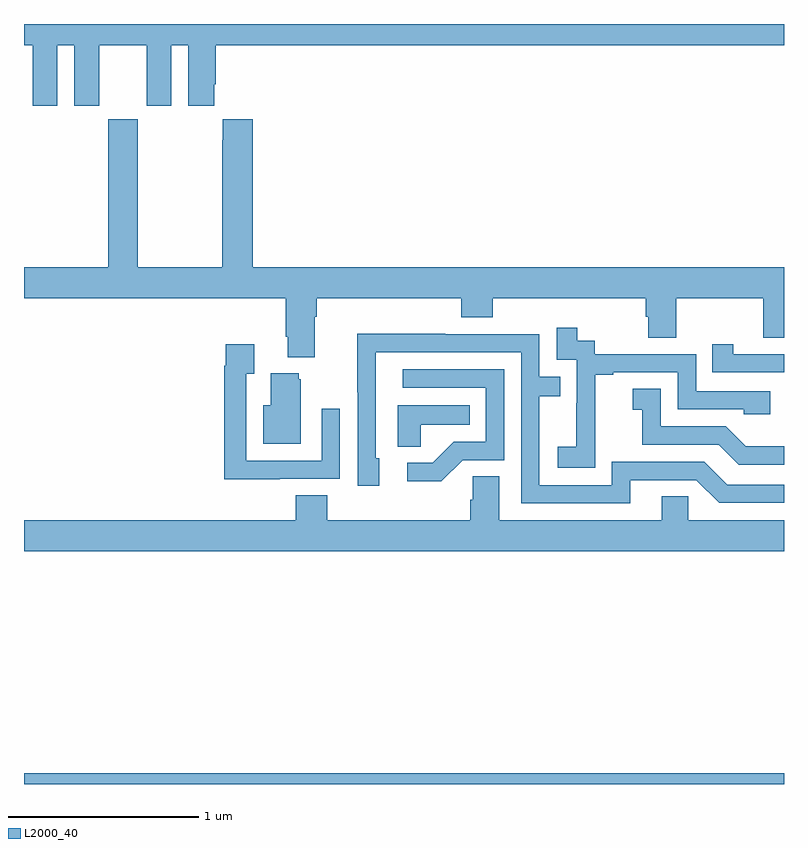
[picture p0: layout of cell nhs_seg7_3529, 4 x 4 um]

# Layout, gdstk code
import gdstk
lib = gdstk.Library(unit=1e-6, precision=1e-09)
def R(c, l, rs):  # rectangles x0, y0, x1, y1
    for r in rs: c.add(gdstk.rectangle(r[:2], r[2:], *l))
def P(c, l, *ps):  # polygons
    for p in ps: c.add(gdstk.Polygon(p, *l))
L2000_40 = (2000, 40)

nhs_seg7_3529 = lib.new_cell('nhs_seg7_3529')
R(nhs_seg7_3529, L2000_40, [(335,1058,339,1058.056)])
P(nhs_seg7_3529, L2000_40, [(335.176,1061.888),(335.264,1061.888),(335.264,1061.571),(335.395,1061.571),(335.395,1061.888),(335.645,1061.888),(335.645,1061.571),(335.776,1061.571),(335.776,1061.888),(335.864,1061.888),(335.864,1061.571),(336.001,1061.571),(336.001,1061.683),(336.008,1061.683),(336.008,1061.888),(339,1061.888),(339,1062),(335,1062),(335,1061.888),(335.045,1061.888),(335.045,1061.571),(335.176,1061.571)],
  [(336.203,1061.5),(336.047,1061.5),(336.047,1061.387),(336.043,1061.387),(336.043,1060.72),(335.598,1060.72),(335.598,1061.5),(335.443,1061.5),(335.443,1060.72),(335,1060.72),(335,1060.556),(336.377,1060.556),(336.377,1060.354),(336.389,1060.354),(336.389,1060.247),(336.529,1060.247),(336.529,1060.46),(336.542,1060.46),(336.542,1060.556),(337.301,1060.556),(337.301,1060.457),(337.466,1060.457),(337.466,1060.556),(338.273,1060.556),(338.273,1060.458),(338.285,1060.458),(338.285,1060.348),(338.433,1060.348),(338.433,1060.556),(338.89,1060.556),(338.89,1060.348),(339,1060.348),(339,1060.72),(336.203,1060.72)],
  [(338.007,1059.871),(338.006,1059.871),(338.006,1060.155),(338.101,1060.155),(338.101,1060.167),(338.442,1060.167),(338.442,1059.972),(338.787,1059.972),(338.787,1059.945),(338.927,1059.945),(338.927,1060.068),(338.538,1060.068),(338.538,1060.263),(338.004,1060.263),(338.004,1060.332),(337.912,1060.332),(337.912,1060.402),(337.803,1060.402),(337.803,1060.233),(337.908,1060.233),(337.908,1060.004),(337.907,1060.004),(337.907,1059.775),(337.809,1059.775),(337.809,1059.665),(338.007,1059.665)],
  [(338.191,1059.6),(338.538,1059.6),(338.658,1059.48),(339,1059.48),(339,1059.576),(338.7,1059.576),(338.58,1059.696),(338.094,1059.696),(338.094,1059.573),(337.713,1059.573),(337.713,1060.042),(337.823,1060.042),(337.823,1060.143),(337.713,1060.143),(337.713,1060.368),(337.217,1060.368),(337.217,1060.37),(336.754,1060.37),(336.754,1060.063),(336.756,1060.063),(336.756,1059.57),(336.871,1059.57),(336.871,1059.714),(336.852,1059.714),(336.852,1060.272),(337.617,1060.272),(337.617,1059.477),(338.191,1059.477)],
  [(339,1060.263),(338.734,1060.263),(338.734,1060.315),(338.623,1060.315),(338.623,1060.167),(339,1060.167)],
  [(336.347,1059.606),(336.663,1059.606),(336.663,1059.976),(336.567,1059.976),(336.567,1059.702),(336.171,1059.702),(336.171,1060.159),(336.211,1060.159),(336.211,1060.315),(336.063,1060.315),(336.063,1060.202),(336.055,1060.202),(336.055,1059.605),(336.347,1059.605)],
  [(337.308,1059.705),(337.527,1059.705),(337.527,1060.182),(336.993,1060.182),(336.993,1060.086),(337.431,1060.086),(337.431,1059.801),(337.262,1059.801),(337.151,1059.69),(337.017,1059.69),(337.017,1059.593),(337.195,1059.593)],
  [(336.457,1060.131),(336.446,1060.131),(336.446,1060.162),(336.299,1060.162),(336.299,1059.994),(336.26,1059.994),(336.26,1059.791),(336.457,1059.791)],
  [(339,1059.778),(338.798,1059.778),(338.694,1059.882),(338.352,1059.882),(338.352,1060.081),(338.205,1060.081),(338.205,1059.971),(338.254,1059.971),(338.254,1059.786),(338.657,1059.786),(338.762,1059.681),(339,1059.681)],
  [(337.089,1059.89),(337.346,1059.89),(337.346,1059.994),(336.968,1059.994),(336.968,1059.775),(337.089,1059.775)],
  [(339,1059.388),(338.496,1059.388),(338.496,1059.515),(338.357,1059.515),(338.357,1059.388),(337.501,1059.388),(337.501,1059.62),(337.362,1059.62),(337.362,1059.497),(337.349,1059.497),(337.349,1059.388),(336.596,1059.388),(336.596,1059.521),(336.431,1059.521),(336.431,1059.388),(335,1059.388),(335,1059.224),(339,1059.224)])

lib.write_gds('nhs_seg7_3529.gds')
